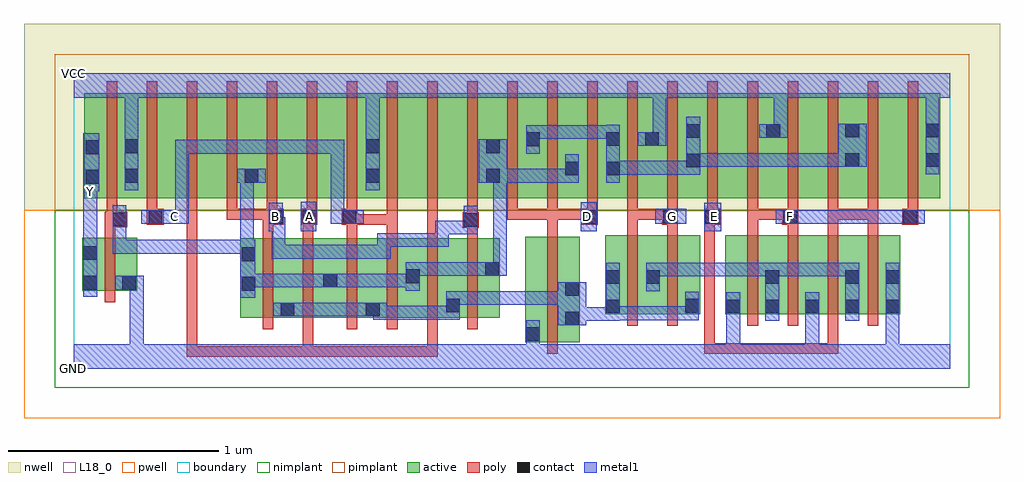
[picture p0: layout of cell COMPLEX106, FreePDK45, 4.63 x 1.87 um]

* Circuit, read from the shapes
.subckt COMPLEX106 A B C D E F G GND VCC Y
M1 GND n1 Y VSUBS nfet w=0.25u l=0.05u
M2 n2 B n1 VSUBS nfet w=0.375u l=0.05u m=2
M3 n1 A n2 VSUBS nfet w=0.375u l=0.05u m=2
M4 n2 C n1 VSUBS nfet w=0.375u l=0.05u m=2
M5 n2 D GND VSUBS nfet w=0.5u l=0.05u
M6 n3 G n2 VSUBS nfet w=0.375u l=0.05u m=2
M7 n3 F GND VSUBS nfet w=0.375u l=0.05u m=2
M8 n3 E GND VSUBS nfet w=0.375u l=0.05u m=2
M9 VCC n1 Y n4 pfet w=0.5u l=0.05u
M10 n5 C VCC n4 pfet w=0.5u l=0.05u
M11 n6 A n5 n4 pfet w=0.5u l=0.05u
M12 n1 B n6 n4 pfet w=0.5u l=0.05u
M13 n7 B n1 n4 pfet w=0.5u l=0.05u
M14 n8 A n7 n4 pfet w=0.5u l=0.05u
M15 VCC C n8 n4 pfet w=0.5u l=0.05u
M16 n9 C VCC n4 pfet w=0.5u l=0.05u
M17 n10 A n9 n4 pfet w=0.5u l=0.05u
M18 n1 B n10 n4 pfet w=0.5u l=0.05u
M19 n11 D n1 n4 pfet w=0.5u l=0.05u m=3
M20 VCC G n11 n4 pfet w=0.5u l=0.05u m=2
M21 n12 E n11 n4 pfet w=0.5u l=0.05u
M22 VCC F n12 n4 pfet w=0.5u l=0.05u
M23 n13 F VCC n4 pfet w=0.5u l=0.05u
M24 n11 E n13 n4 pfet w=0.5u l=0.05u
M25 n14 E n11 n4 pfet w=0.5u l=0.05u
M26 VCC F n14 n4 pfet w=0.5u l=0.05u
.ends

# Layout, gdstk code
import gdstk
lib = gdstk.Library(unit=1e-6, precision=1e-09)
def R(c, l, rs):  # rectangles x0, y0, x1, y1
    for r in rs: c.add(gdstk.rectangle(r[:2], r[2:], *l))
def A(c, l, x, y, w, h, nx, ny, dx, dy):  # array of equal rectangles
    R(c, l, [(x+i*dx, y+j*dy, x+i*dx+w, y+j*dy+h) for i in range(nx) for j in range(ny)])
active = (1, 0)
pwell = (2, 0)
nwell = (3, 0)
nimplant = (4, 0)
pimplant = (5, 0)
poly = (9, 0)
contact = (10, 0)
metal1 = (11, 0)
L18_0 = (18, 0)
boundary = (235, 0)

complex106 = lib.new_cell('COMPLEX106')
A(complex106, active, 3.277, 0.257, 0.265, 0.375, 3, 1, 0.19, 0)
A(complex106, active, 0.467, 0.807, 0.19, 0.5, 3, 1, 0.57, 0)
A(complex106, active, 2.142, 0.807, 0.075, 0.393, 3, 1, 0.38, 0)
R(complex106, active, [(2.142,0.125,2.402,0.625), (2.142,0.125,2.217,0.625), (2.327,0.195,2.402,0.625), (0.792,0.242,1.052,0.617), (0.977,0.242,1.255,0.617), (0.977,0.242,1.052,0.512), (1.18,0.242,1.457,0.617), (1.382,0.242,1.647,0.617), (1.382,0.242,1.457,0.592), (1.572,0.242,1.837,0.617), (1.762,0.242,2.022,0.617), (1.762,0.242,1.837,0.467), (0.792,0.257,0.867,0.617), (2.522,0.257,2.597,0.632), (2.522,0.257,2.787,0.632), (2.712,0.257,2.972,0.632), (2.897,0.257,2.972,0.632), (3.092,0.257,3.167,0.632), (3.092,0.257,3.352,0.632), (3.277,0.257,3.352,0.592), (3.467,0.257,3.542,0.512), (3.657,0.257,3.732,0.472), (3.847,0.257,3.922,0.632), (1.18,0.32,1.255,0.512), (1.572,0.32,1.647,0.512), (1.947,0.32,2.022,0.617), (2.712,0.32,2.787,0.632), (0.042,0.37,0.117,0.62), (0.042,0.37,0.302,0.62), (0.227,0.37,0.302,0.62), (0.052,0.807,0.312,1.307), (0.052,0.807,0.127,1.2), (0.237,0.807,0.312,1.305), (0.237,0.807,0.467,1.307), (0.657,0.807,0.882,1.307), (0.807,0.807,1.037,1.307), (0.807,0.807,0.882,1.07), (1.227,0.807,1.457,1.307), (1.382,0.807,1.457,1.305), (1.382,0.807,1.607,1.307), (1.797,0.807,2.027,1.307), (1.952,0.807,2.027,1.2), (1.952,0.807,2.217,1.307), (2.142,0.807,2.402,1.307), (2.327,0.807,2.597,1.307), (2.327,0.807,2.402,1.07), (2.522,0.807,2.782,1.307), (2.707,0.807,2.782,1.305), (2.707,0.807,2.977,1.307), (2.902,0.807,3.127,1.307), (3.127,0.807,3.357,1.307), (3.282,0.807,3.357,1.305), (3.282,0.807,3.507,1.307), (3.507,0.807,3.732,1.307), (3.657,0.807,3.887,1.307), (3.657,0.807,3.732,1.2), (3.887,0.807,4.112,1.307), (4.037,0.807,4.112,1.305)])
R(complex106, pwell, [(-0.235,-0.235,4.395,0.75)])
R(complex106, nwell, [(-0.235,0.75,4.395,1.635)])
R(complex106, nimplant, [(-0.09,-0.09,4.25,0.75)])
R(complex106, pimplant, [(-0.09,0.75,4.25,1.49)])
A(complex106, poly, 1.297, 0.187, 0.05, 0.485, 4, 1, 0.19, 0)
A(complex106, poly, 3.197, 0.202, 0.05, 0.485, 4, 1, 0.19, 0)
A(complex106, poly, 0.727, 0.707, 0.05, 0.095, 4, 1, 0.19, 0)
A(complex106, poly, 2.057, 0.707, 0.05, 0.095, 11, 1, 0.19, 0)
A(complex106, poly, 0.157, 0.752, 0.05, 0.61, 21, 1, 0.19, 0)
R(complex106, poly, [(0.537,0.055,0.587,0.105), (0.537,0.055,0.587,0.105), (0.537,0.055,0.587,0.105), (0.537,0.055,0.587,0.105), (0.537,0.055,0.587,0.105), (0.537,0.055,0.587,0.105), (0.537,0.055,0.587,0.105), (0.537,0.055,0.587,0.105), (0.537,0.055,0.587,0.105), (0.537,0.055,0.742,0.105), (0.537,0.055,0.587,0.802), (0.692,0.055,0.742,0.105), (0.692,0.055,0.742,0.105), (0.692,0.055,0.742,0.105), (0.692,0.055,0.742,0.105), (0.692,0.055,0.742,0.105), (0.692,0.055,0.91,0.105), (0.86,0.055,0.91,0.105), (0.86,0.055,0.91,0.105), (0.86,0.055,0.91,0.105), (0.86,0.055,1.137,0.105), (1.087,0.055,1.137,0.105), (1.087,0.055,1.137,0.105), (1.087,0.055,1.137,0.105), (1.087,0.055,1.137,0.237), (1.087,0.055,1.29,0.105), (1.24,0.055,1.29,0.105), (1.24,0.055,1.29,0.105), (1.24,0.055,1.29,0.105), (1.24,0.055,1.595,0.105), (1.545,0.055,1.595,0.105), (1.545,0.055,1.727,0.105), (1.677,0.055,1.727,0.105), (1.677,0.055,1.727,0.105), (1.677,0.055,1.727,0.105), (1.677,0.055,1.727,0.237), (2.247,0.07,2.297,0.68), (2.992,0.07,3.042,0.12), (2.992,0.07,3.042,0.12), (2.992,0.07,3.042,0.12), (2.992,0.07,3.042,0.12), (2.992,0.07,3.042,0.12), (2.992,0.07,3.042,0.12), (2.992,0.07,3.042,0.12), (2.992,0.07,3.28,0.12), (2.992,0.07,3.042,0.732), (3.23,0.07,3.28,0.12), (3.23,0.07,3.28,0.12), (3.23,0.07,3.28,0.12), (3.23,0.07,3.495,0.12), (3.445,0.07,3.495,0.12), (3.445,0.07,3.495,0.12), (3.445,0.07,3.495,0.12), (3.445,0.07,3.627,0.12), (3.577,0.07,3.627,0.12), (3.577,0.07,3.627,0.252), (0.897,0.187,0.947,0.672), (1.087,0.187,1.137,0.672), (2.627,0.202,2.677,0.687), (2.817,0.202,2.867,0.687), (0.147,0.315,0.197,0.675), (0.897,0.622,0.947,0.732), (1.087,0.622,1.137,0.732), (1.297,0.622,1.347,0.732), (1.487,0.622,1.537,0.732), (1.677,0.622,1.727,0.757), (1.867,0.622,1.917,0.717), (0.147,0.625,0.197,0.72), (2.247,0.63,2.297,0.757), (2.627,0.637,2.677,0.757), (2.817,0.637,2.867,0.732), (3.197,0.637,3.247,0.757), (3.387,0.637,3.437,0.732), (3.577,0.637,3.627,0.757), (3.767,0.637,3.817,0.757), (1.847,0.667,1.922,0.742), (0.147,0.67,0.255,0.745), (0.347,0.682,0.427,0.757), (0.897,0.682,0.997,0.757), (1.082,0.682,1.157,0.757), (1.272,0.682,1.347,0.757), (1.297,0.682,1.347,0.732), (1.297,0.682,1.347,0.732), (1.297,0.682,1.537,0.732), (1.487,0.682,1.537,0.802), (1.487,0.682,1.537,0.732), (2.412,0.682,2.487,0.757), (2.792,0.682,2.867,0.757), (2.992,0.682,3.067,0.757), (2.992,0.682,3.042,0.732), (2.992,0.682,3.042,0.732), (3.362,0.682,3.437,0.757), (3.932,0.682,4.007,0.757), (1.867,0.692,1.917,0.802), (0.157,0.695,0.207,0.802), (0.347,0.707,0.397,0.802), (0.727,0.707,0.777,0.757), (0.727,0.707,0.777,0.757), (0.727,0.707,0.777,0.757), (0.727,0.707,0.947,0.757), (1.677,0.707,1.727,0.802), (1.677,0.707,1.727,0.757), (2.057,0.707,2.107,0.757), (2.057,0.707,2.107,0.757), (2.057,0.707,2.107,0.757), (2.057,0.707,2.297,0.757), (2.247,0.707,2.297,0.757), (2.247,0.707,2.462,0.757), (2.412,0.707,2.462,0.757), (2.412,0.707,2.462,0.757), (2.627,0.707,2.677,0.757), (2.627,0.707,2.677,0.757), (2.627,0.707,2.677,0.757), (2.627,0.707,2.842,0.757), (3.197,0.707,3.247,0.757), (3.197,0.707,3.247,0.757), (3.197,0.707,3.247,0.757), (3.197,0.707,3.412,0.757), (3.577,0.707,3.627,0.757), (3.577,0.707,3.817,0.757), (3.767,0.707,3.817,0.757), (3.767,0.707,3.817,0.757), (3.767,0.707,3.817,0.757)])
A(complex106, contact, 3.282, 0.262, 0.065, 0.065, 4, 1, 0.19, 0)
R(complex106, contact, [(2.147,0.13,2.212,0.195), (2.332,0.205,2.397,0.27), (0.982,0.247,1.047,0.312), (1.387,0.247,1.452,0.312), (2.527,0.262,2.592,0.327), (3.097,0.262,3.162,0.327), (2.902,0.265,2.967,0.33), (1.767,0.267,1.832,0.332), (2.332,0.345,2.397,0.41), (0.797,0.37,0.862,0.435), (0.047,0.375,0.112,0.44), (0.232,0.375,0.297,0.44), (1.185,0.385,1.25,0.45), (2.527,0.402,2.592,0.467), (2.717,0.402,2.782,0.467), (3.282,0.402,3.347,0.467), (3.662,0.402,3.727,0.467), (3.852,0.402,3.917,0.467), (1.577,0.405,1.642,0.47), (1.952,0.44,2.017,0.505), (0.797,0.51,0.862,0.575), (0.047,0.515,0.112,0.58), (1.852,0.672,1.917,0.737), (0.185,0.675,0.25,0.74), (0.357,0.687,0.422,0.752), (0.927,0.687,0.992,0.752), (1.087,0.687,1.152,0.752), (1.277,0.687,1.342,0.752), (2.417,0.687,2.482,0.752), (2.797,0.687,2.862,0.752), (2.997,0.687,3.062,0.752), (3.367,0.687,3.432,0.752), (3.937,0.687,4.002,0.752), (0.057,0.877,0.122,0.942), (0.242,0.882,0.307,0.947), (0.812,0.882,0.877,0.947), (1.387,0.882,1.452,0.947), (1.957,0.882,2.022,0.947), (2.332,0.917,2.397,0.982), (2.527,0.917,2.592,0.982), (2.907,0.955,2.972,1.02), (3.662,0.957,3.727,1.022), (4.042,0.957,4.107,1.022), (0.057,1.017,0.122,1.082), (0.242,1.022,0.307,1.087), (1.387,1.022,1.452,1.087), (1.957,1.022,2.022,1.087), (2.147,1.055,2.212,1.12), (2.527,1.057,2.592,1.122), (2.712,1.057,2.777,1.122), (2.907,1.095,2.972,1.16), (3.287,1.095,3.352,1.16), (3.662,1.097,3.727,1.162), (4.042,1.097,4.107,1.162)])
R(complex106, metal1, [(0,0,4.16,0.115), (0.267,0.05,0.332,0.115), (0.267,0.05,0.332,0.115), (0.267,0.05,0.332,0.44), (2.147,0.05,2.212,0.115), (2.147,0.05,2.212,0.115), (2.147,0.05,2.212,0.16), (3.097,0.05,3.162,0.115), (3.097,0.05,3.162,0.115), (3.097,0.05,3.162,0.115), (3.097,0.05,3.162,0.115), (3.097,0.05,3.162,0.292), (3.472,0.05,3.537,0.115), (3.472,0.05,3.537,0.115), (3.472,0.05,3.537,0.292), (3.852,0.05,3.917,0.292), (2.147,0.095,2.212,0.23), (2.297,0.205,2.432,0.41), (2.367,0.227,2.432,0.292), (2.367,0.227,2.432,0.292), (2.367,0.227,2.592,0.292), (2.527,0.227,2.592,0.502), (3.097,0.227,3.162,0.362), (3.282,0.227,3.347,0.502), (3.472,0.227,3.537,0.292), (3.472,0.227,3.537,0.292), (3.472,0.227,3.537,0.362), (3.662,0.227,3.727,0.502), (3.852,0.227,3.917,0.502), (3.852,0.227,3.917,0.292), (3.852,0.227,3.917,0.292), (3.852,0.227,3.917,0.292), (3.852,0.227,3.917,0.292), (2.527,0.23,2.592,0.295), (2.527,0.23,2.592,0.295), (2.527,0.23,2.83,0.295), (2.765,0.23,2.83,0.295), (2.765,0.23,2.83,0.295), (2.765,0.23,2.83,0.295), (2.765,0.23,2.967,0.295), (2.902,0.23,2.967,0.365), (1.422,0.232,1.642,0.297), (1.422,0.232,1.487,0.312), (1.577,0.232,1.642,0.297), (1.577,0.232,1.78,0.297), (1.715,0.232,1.78,0.297), (1.715,0.232,1.832,0.297), (1.767,0.232,1.832,0.367), (0.947,0.247,1.082,0.312), (1.017,0.247,1.152,0.312), (1.087,0.247,1.152,0.312), (1.087,0.247,1.28,0.312), (1.215,0.247,1.28,0.312), (1.215,0.247,1.35,0.312), (1.285,0.247,1.35,0.312), (1.285,0.247,1.417,0.312), (1.352,0.247,1.487,0.312), (1.422,0.247,1.487,0.312), (1.767,0.302,1.917,0.367), (1.852,0.302,1.917,0.367), (1.852,0.302,2.055,0.367), (1.99,0.302,2.055,0.367), (1.99,0.302,2.055,0.367), (1.99,0.302,2.055,0.367), (1.99,0.302,2.225,0.367), (2.16,0.302,2.225,0.367), (2.16,0.302,2.225,0.367), (2.16,0.302,2.225,0.367), (2.16,0.302,2.362,0.367), (0.79,0.335,0.862,0.61), (0.797,0.335,0.862,0.4), (0.797,0.335,0.862,0.45), (0.047,0.34,0.112,0.615), (2.717,0.367,2.782,0.502), (1.577,0.37,1.642,0.505), (0.197,0.375,0.332,0.44), (0.267,0.375,0.332,0.44), (0.267,0.375,0.332,0.44), (0.267,0.375,0.332,0.44), (0.267,0.375,0.332,0.44), (0.797,0.385,1,0.45), (0.935,0.385,1,0.45), (0.935,0.385,1,0.45), (0.935,0.385,1,0.45), (0.935,0.385,1.152,0.45), (1.087,0.385,1.152,0.45), (1.087,0.385,1.215,0.45), (1.15,0.385,1.285,0.45), (1.22,0.385,1.29,0.45), (1.225,0.385,1.29,0.45), (1.225,0.385,1.487,0.45), (1.422,0.385,1.487,0.45), (1.422,0.385,1.487,0.45), (1.422,0.385,1.487,0.45), (1.422,0.385,1.642,0.45), (2.717,0.437,2.782,0.502), (2.717,0.437,2.782,0.502), (2.717,0.437,2.967,0.502), (2.902,0.437,2.967,0.502), (2.902,0.437,2.967,0.502), (2.902,0.437,2.967,0.502), (2.902,0.437,3.18,0.502), (3.115,0.437,3.18,0.502), (3.115,0.437,3.18,0.502), (3.115,0.437,3.18,0.502), (3.115,0.437,3.347,0.502), (3.282,0.437,3.347,0.502), (3.282,0.437,3.347,0.502), (3.282,0.437,3.555,0.502), (3.49,0.437,3.555,0.502), (3.49,0.437,3.642,0.502), (3.577,0.437,3.642,0.502), (3.577,0.437,3.727,0.502), (1.577,0.44,1.78,0.505), (1.715,0.44,1.78,0.505), (1.715,0.44,1.78,0.505), (1.715,0.44,1.78,0.505), (1.715,0.44,1.917,0.505), (1.852,0.44,1.917,0.505), (1.852,0.44,1.982,0.505), (1.917,0.44,2.052,0.505), (1.987,0.44,2.052,0.505), (1.987,0.44,2.055,0.505), (1.99,0.44,2.055,0.947), (0.94,0.522,1.005,0.587), (0.94,0.522,1.152,0.587), (0.94,0.522,1.005,0.717), (1.087,0.522,1.152,0.587), (1.087,0.522,1.285,0.587), (1.22,0.522,1.285,0.587), (1.22,0.522,1.29,0.587), (1.225,0.522,1.29,0.587), (1.225,0.522,1.505,0.587), (1.44,0.522,1.505,0.642), (0.185,0.545,0.25,0.61), (0.185,0.545,0.567,0.61), (0.185,0.545,0.25,0.705), (0.502,0.545,0.567,0.61), (0.502,0.545,0.567,0.61), (0.502,0.545,0.567,0.61), (0.502,0.545,0.705,0.61), (0.64,0.545,0.705,0.61), (0.64,0.545,0.705,0.61), (0.64,0.545,0.705,0.61), (0.64,0.545,0.855,0.61), (0.79,0.545,0.855,0.61), (0.79,0.545,0.855,0.61), (0.79,0.545,0.855,0.61), (0.79,0.545,0.855,0.61), (0.79,0.545,0.855,0.947), (0.047,0.55,0.112,0.837), (1.44,0.577,1.642,0.642), (1.577,0.577,1.642,0.642), (1.577,0.577,1.642,0.642), (1.577,0.577,1.642,0.642), (1.577,0.577,1.78,0.642), (1.715,0.577,1.78,0.642), (1.715,0.577,1.78,0.642), (1.715,0.577,1.78,0.642), (1.715,0.577,1.78,0.702), (1.715,0.637,1.78,0.702), (1.715,0.637,1.917,0.702), (1.852,0.637,1.917,0.772), (0.185,0.64,0.25,0.705), (0.185,0.64,0.25,0.705), (0.185,0.64,0.25,0.775), (0.927,0.652,0.992,0.787), (0.927,0.652,1.005,0.717), (0.94,0.652,1.005,0.717), (1.077,0.652,1.152,0.792), (2.405,0.652,2.482,0.79), (2.992,0.652,3.072,0.787), (0.322,0.687,0.457,0.752), (0.392,0.687,0.477,0.752), (0.412,0.687,0.547,0.752), (0.482,0.687,0.547,0.752), (0.482,0.687,0.547,0.752), (0.482,0.687,0.547,1.085), (1.22,0.687,1.285,0.752), (1.22,0.687,1.307,0.752), (1.22,0.687,1.285,1.085), (1.242,0.687,1.377,0.752), (2.76,0.687,2.907,0.757), (3.332,0.687,3.467,0.752), (3.402,0.687,3.555,0.752), (3.49,0.687,3.555,0.752), (3.49,0.687,3.605,0.752), (3.54,0.687,3.605,0.752), (3.54,0.687,3.78,0.752), (3.715,0.687,3.78,0.752), (3.715,0.687,3.78,0.752), (3.715,0.687,3.78,0.752), (3.715,0.687,3.967,0.752), (3.902,0.687,3.967,0.752), (3.902,0.687,3.967,0.752), (3.902,0.687,4.037,0.752), (0.047,0.772,0.112,0.907), (0.047,0.842,0.112,0.907), (0.047,0.842,0.122,1.117), (0.242,0.847,0.307,1.122), (1.387,0.847,1.452,1.122), (0.777,0.882,0.912,0.947), (1.922,0.882,2.057,1.087), (1.99,0.882,2.055,0.947), (1.99,0.882,2.055,0.947), (1.992,0.882,2.057,0.947), (1.992,0.882,2.057,0.947), (1.992,0.882,2.225,0.947), (2.16,0.882,2.225,0.947), (2.16,0.882,2.225,0.947), (2.16,0.882,2.225,0.947), (2.16,0.882,2.397,0.947), (2.332,0.882,2.397,1.017), (2.527,0.882,2.592,1.157), (2.527,0.92,2.592,0.985), (2.527,0.92,2.592,0.985), (2.527,0.92,2.815,0.985), (2.75,0.92,2.815,0.985), (2.75,0.92,2.815,0.985), (2.75,0.92,2.815,0.985), (2.75,0.92,2.972,0.985), (2.907,0.92,2.972,1.195), (4.042,0.922,4.107,1.197), (2.907,0.957,2.972,1.022), (2.907,0.957,2.972,1.022), (2.907,0.957,3.18,1.022), (3.115,0.957,3.18,1.022), (3.115,0.957,3.18,1.022), (3.115,0.957,3.18,1.022), (3.115,0.957,3.317,1.022), (3.252,0.957,3.317,1.022), (3.252,0.957,3.317,1.022), (3.252,0.957,3.317,1.022), (3.252,0.957,3.555,1.022), (3.49,0.957,3.555,1.022), (3.49,0.957,3.605,1.022), (3.54,0.957,3.605,1.022), (3.54,0.957,3.692,1.022), (3.627,0.957,3.762,1.162), (0.482,1.02,0.547,1.085), (0.482,1.02,0.705,1.085), (0.64,1.02,0.705,1.085), (0.64,1.02,0.705,1.085), (0.64,1.02,0.705,1.085), (0.64,1.02,0.842,1.085), (0.777,1.02,0.842,1.085), (0.777,1.02,0.842,1.085), (0.777,1.02,0.842,1.085), (0.777,1.02,1.005,1.085), (0.94,1.02,1.005,1.085), (0.94,1.02,1.05,1.085), (0.985,1.02,1.05,1.085), (0.985,1.02,1.05,1.085), (0.985,1.02,1.05,1.085), (0.985,1.02,1.142,1.085), (1.077,1.02,1.142,1.085), (1.077,1.02,1.285,1.085), (1.22,1.02,1.285,1.085), (2.147,1.02,2.212,1.155), (0.242,1.057,0.307,1.35), (1.387,1.057,1.452,1.35), (2.677,1.057,2.812,1.122), (2.747,1.057,2.812,1.35), (2.147,1.09,2.212,1.155), (2.147,1.09,2.212,1.155), (2.147,1.09,2.455,1.155), (2.39,1.09,2.455,1.155), (2.39,1.09,2.455,1.155), (2.39,1.09,2.455,1.155), (2.39,1.09,2.592,1.155), (3.252,1.095,3.387,1.16), (3.322,1.095,3.387,1.35), (4.042,1.132,4.107,1.35), (0,1.285,4.16,1.4)])
R(complex106, L18_0, [(0,0,4.16,0.115), (0.267,0.05,0.332,0.115), (0.267,0.05,0.332,0.115), (0.267,0.05,0.332,0.44), (2.147,0.05,2.212,0.115), (2.147,0.05,2.212,0.115), (2.147,0.05,2.212,0.16), (3.097,0.05,3.162,0.115), (3.097,0.05,3.162,0.115), (3.097,0.05,3.162,0.115), (3.097,0.05,3.162,0.115), (3.097,0.05,3.162,0.292), (3.472,0.05,3.537,0.115), (3.472,0.05,3.537,0.115), (3.472,0.05,3.537,0.292), (3.852,0.05,3.917,0.292), (2.147,0.095,2.212,0.23), (3.097,0.227,3.162,0.362), (3.472,0.227,3.537,0.362), (3.472,0.227,3.537,0.292), (3.472,0.227,3.537,0.292), (3.852,0.227,3.917,0.502), (3.852,0.227,3.917,0.292), (3.852,0.227,3.917,0.292), (3.852,0.227,3.917,0.292), (3.852,0.227,3.917,0.292), (0.047,0.34,0.112,0.615), (0.197,0.375,0.332,0.44), (0.267,0.375,0.332,0.44), (0.267,0.375,0.332,0.44), (0.267,0.375,0.332,0.44), (0.267,0.375,0.332,0.44), (0.94,0.522,1.005,0.587), (0.94,0.522,1.005,0.717), (0.94,0.522,1.152,0.587), (1.087,0.522,1.152,0.587), (1.087,0.522,1.285,0.587), (1.22,0.522,1.285,0.587), (1.22,0.522,1.29,0.587), (1.225,0.522,1.29,0.587), (1.225,0.522,1.505,0.587), (1.44,0.522,1.505,0.642), (0.047,0.55,0.112,0.837), (1.44,0.577,1.642,0.642), (1.577,0.577,1.642,0.642), (1.577,0.577,1.642,0.642), (1.577,0.577,1.642,0.642), (1.577,0.577,1.78,0.642), (1.715,0.577,1.78,0.642), (1.715,0.577,1.78,0.642), (1.715,0.577,1.78,0.642), (1.715,0.577,1.78,0.702), (1.715,0.637,1.78,0.702), (1.715,0.637,1.917,0.702), (1.852,0.637,1.917,0.772), (0.927,0.652,0.992,0.787), (0.927,0.652,1.005,0.717), (0.94,0.652,1.005,0.717), (1.077,0.652,1.152,0.792), (2.405,0.652,2.482,0.79), (2.992,0.652,3.072,0.787), (0.322,0.687,0.457,0.752), (0.392,0.687,0.477,0.752), (0.412,0.687,0.547,0.752), (0.447,0.687,0.512,0.752), (0.482,0.687,0.547,0.752), (0.482,0.687,0.547,0.752), (0.482,0.687,0.547,1.085), (0.927,0.687,0.992,0.752), (1.087,0.687,1.152,0.752), (1.22,0.687,1.285,0.752), (1.22,0.687,1.285,1.085), (1.22,0.687,1.307,0.752), (1.242,0.687,1.377,0.752), (2.407,0.687,2.472,0.752), (2.76,0.687,2.907,0.757), (2.807,0.687,2.872,0.752), (3.007,0.687,3.072,0.752), (3.332,0.687,3.467,0.752), (3.367,0.687,3.432,0.752), (3.402,0.687,3.555,0.752), (3.49,0.687,3.555,0.752), (3.49,0.687,3.605,0.752), (3.54,0.687,3.605,0.752), (3.54,0.687,3.78,0.752), (3.715,0.687,3.78,0.752), (3.715,0.687,3.78,0.752), (3.715,0.687,3.78,0.752), (3.715,0.687,3.967,0.752), (3.902,0.687,3.967,0.752), (3.902,0.687,3.967,0.752), (3.902,0.687,4.037,0.752), (0.047,0.772,0.112,0.907), (0.047,0.807,0.112,0.872), (0.047,0.842,0.122,1.117), (0.047,0.842,0.112,0.907), (0.242,0.847,0.307,1.122), (1.387,0.847,1.452,1.122), (4.042,0.922,4.107,1.197), (0.482,1.02,0.547,1.085), (0.482,1.02,0.705,1.085), (0.64,1.02,0.705,1.085), (0.64,1.02,0.705,1.085), (0.64,1.02,0.705,1.085), (0.64,1.02,0.842,1.085), (0.777,1.02,0.842,1.085), (0.777,1.02,0.842,1.085), (0.777,1.02,0.842,1.085), (0.777,1.02,1.005,1.085), (0.94,1.02,1.005,1.085), (0.94,1.02,1.05,1.085), (0.985,1.02,1.05,1.085), (0.985,1.02,1.05,1.085), (0.985,1.02,1.05,1.085), (0.985,1.02,1.142,1.085), (1.077,1.02,1.142,1.085), (1.077,1.02,1.285,1.085), (1.22,1.02,1.285,1.085), (0.242,1.057,0.307,1.35), (1.387,1.057,1.452,1.35), (2.677,1.057,2.812,1.122), (2.747,1.057,2.812,1.35), (3.252,1.095,3.387,1.16), (3.322,1.095,3.387,1.35), (4.042,1.132,4.107,1.35), (0,1.285,4.16,1.4)])
R(complex106, boundary, [(0,0,4.16,1.4)])
complex106.add(gdstk.Label('A', (1.12,0.72), layer=11, texttype=0))
complex106.add(gdstk.Label('B', (0.96,0.72), layer=11, texttype=0))
complex106.add(gdstk.Label('C', (0.48,0.72), layer=11, texttype=0))
complex106.add(gdstk.Label('D', (2.44,0.72), layer=11, texttype=0))
complex106.add(gdstk.Label('E', (3.04,0.72), layer=11, texttype=0))
complex106.add(gdstk.Label('F', (3.4,0.72), layer=11, texttype=0))
complex106.add(gdstk.Label('G', (2.84,0.72), layer=11, texttype=0))
complex106.add(gdstk.Label('Y', (0.08,0.84), layer=11, texttype=0))
complex106.add(gdstk.Label('VCC', (0,1.4), layer=11, texttype=0))
complex106.add(gdstk.Label('GND', (0,0), layer=11, texttype=0))

lib.write_gds('COMPLEX106.gds')
